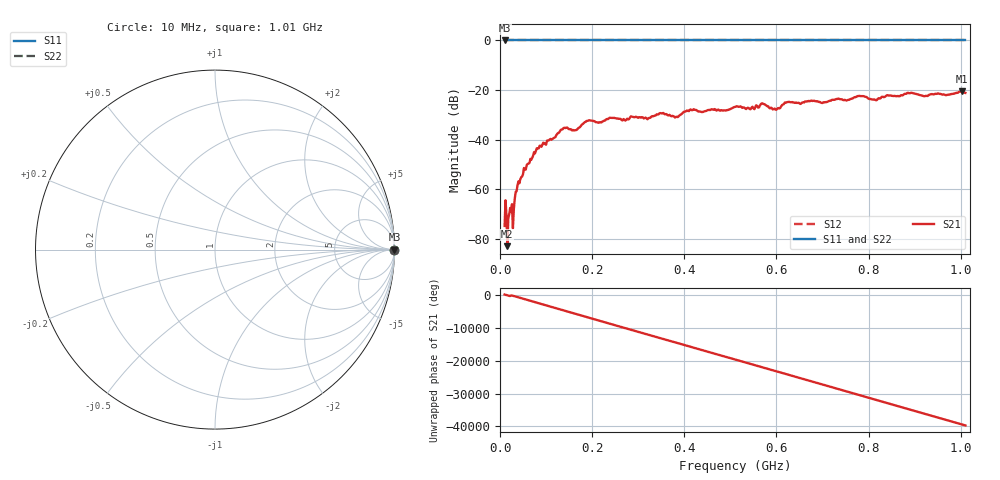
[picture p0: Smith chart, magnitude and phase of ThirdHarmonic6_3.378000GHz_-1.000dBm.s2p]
! 8/17/2025 10:44:00 AM
! C:\ANRITSUVNA\TEMP\TEMP.S2P
! CHANNEL.1
! TR.MEASUREMENT
! RAW.DATA
! RF.CORRECTION.OFF
! AVERAGING.OFF
! IF.BANDWIDTH: 5KHZ
! SWEEPTYPE:  FREQ.SWEEP(Linear)
! Reference Plane Port Info
! PORT:  PORT1  PORT2
! DISTANCE:  0  m  0  m
! TIME:  0  s  0  s
! PHASE.OFFSET:  0  deg.  0  deg.
! LOSS:  0  dB  0  dB
! REF.LOSS:  0  dB  0  dB
! REF.FREQ:  0  Hz  0  Hz
! Power Info
! POWER:  -20  dBm  -20  dBm
! EFF.POWER:  -20  dBm  -20  dBm
! SOURCE.ATTEN:  0  dB  0  dB
! TEST.ATTEN:  0  dB  0  dB
# GHZ S RI R 50.0
! FREQ.GHZ  S11RE  S11IM  S21RE  S21IM  S12RE  S12IM  S22RE  S22IM
!; PortSelection: Port_12
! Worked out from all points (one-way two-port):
!   501 points, 10 MHz to 1.01 GHz, reference 50 ohm
!   highest |S21| = -20.50 dB at 1.002 GHz (marker M1); lowest = -82.9 dB at 16 MHz (marker M2)
!   lowest |S11| = 0.0 dB at 10 MHz (marker M3)
!   |S11| at or under -10 dB: nowhere
!   |S22| runs from 0.0 to 0.0 dB; largest |S21 - S12| = 1.1
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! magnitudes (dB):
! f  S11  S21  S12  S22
! 10 MHz  0.0  -74.7  0.0  0.0
! 16 MHz  0.0  -82.9  0.0  0.0
! 28 MHz  0.0  -75.7  0.0  0.0
! 32 MHz  0.0  -63.9  0.0  0.0
! 36 MHz  0.0  -60.8  0.0  0.0
! 42 MHz  0.0  -57.6  0.0  0.0
! 78 MHz  0.0  -44.4  0.0  0.0
! 136 MHz  0.0  -35.8  0.0  0.0
! 164 MHz  0.0  -36.1  0.0  0.0
! 178 MHz  0.0  -33.9  0.0  0.0
! 344 MHz  0.0  -29.8  0.0  0.0
! 384 MHz  0.0  -30.8  0.0  0.0
! 416 MHz  0.0  -28.1  0.0  0.0
! 510 MHz  0.0  -26.8  0.0  0.0
! 570 MHz  0.0  -25.4  0.0  0.0
! 596 MHz  0.0  -27.4  0.0  0.0
! 622 MHz  0.0  -24.9  0.0  0.0
! 678 MHz  0.0  -24.4  0.0  0.0
! 814 MHz  0.0  -23.9  0.0  0.0
! 844 MHz  0.0  -22.2  0.0  0.0
! 1.002 GHz  0.0  -20.5  0.0  0.0
! 1.01 GHz  0.0  -21.1  0.0  0.0
